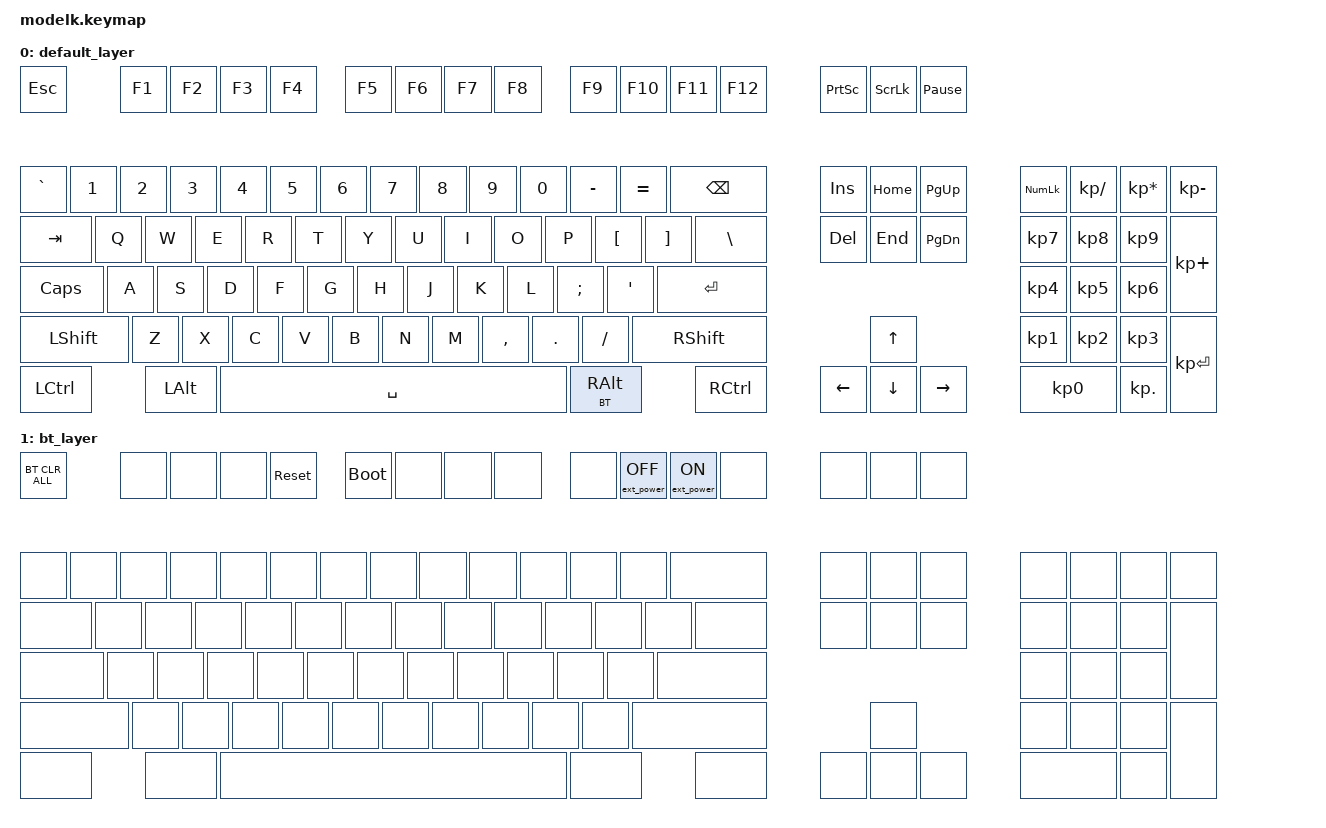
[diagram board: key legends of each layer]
#include <behaviors.dtsi>
#include <dt-bindings/zmk/keys.h>
#include <dt-bindings/zmk/bt.h>
#include <dt-bindings/zmk/outputs.h>
#include <dt-bindings/zmk/ext_power.h>

#define DEFAULT 0
#define BT      1

/ {
    // Define a default keymap here.
    // See https://zmk.dev/docs/development/hardware-integration/new-shield#default-keymap.
    keymap {
        compatible = "zmk,keymap";

        default_layer {
            bindings = <
                //  -------------------------------------------------------------------------------------------------------------------------
                //  | ESC   |       | F1    | F2    | F3    | F4    |   | F5    | F6    | F7    | F8    |   | F9    | F10   | F11   | F12   |       |PRT SCR| SLCK  |PAU_BRK|
                    &kp ESC         &kp F1  &kp F2   &kp F3  &kp F4      &kp F5  &kp F6  &kp F7  &kp F8      &kp F9  &kp F10 &kp F11  &kp F12       &kp PSCRN &kp SLCK &kp PAUSE_BREAK
                //  |  `    |  1    |  2    |  3    |  4    |  5    |  6    |  7    |  8    |  9    |  0    |  -    |  =    |   BKSP        |       |INSERT | HOME  |PAGE_UP|       |BL_NUM | KP /  | KP *  | KP -  |
                    &kp GRAVE &kp N1  &kp N2  &kp N3  &kp N4  &kp N5  &kp N6  &kp N7  &kp N8  &kp N9  &kp N0 &kp MINUS  &kp EQUAL  &kp BSPC         &kp INS &kp HOME &kp PG_UP      &kp KP_NUM &kp KP_DIVIDE &kp KP_MULTIPLY &kp KP_MINUS
                //  |    TAB    |  Q    |  W    |  E    |  R    |  T    |  Y    |  U    |  I    |  O    |  P    |   [   |   ]   |   "|\"    |       |DELETE |  END  |PAGE_DW|       | KP_N7 | KP_N8 | KP_N9 | KP +  |
                    &kp TAB     &kp Q      &kp W  &kp E  &kp R   &kp T   &kp Y   &kp U   &kp I   &kp O   &kp P   &kp LBKT &kp RBKT &kp BSLH         &kp DEL   &kp END &kp PG_DN     &kp KP_N7 &kp KP_N8 &kp KP_N9 &kp KP_PLUS
                //  | CAPS        |   A   |   S   |   D   |   F   |   G   |   H   |   J   |   K   |   L   |   ;   |   '   |      ENTER      |                                       | KP_N4 | KP_N5 | KP_N6 |(KP +) |
                    &kp CAPS        &kp A  &kp S   &kp D   &kp F   &kp G   &kp H   &kp J   &kp K   &kp L   &kp SEMI &kp SQT   &kp ENTER                                             &kp KP_N4 &kp KP_N5 &kp KP_N6
                //  |   LSHIFT        |   Z   |   X   |   C   |   V   |   B   |   N   |   M   |   ,   |   .   |   /   |        RSHIFT       |               |  UP   |               | KP_N1 | KP_N2 | KP_N3 | KPENT |
                    &kp LSHIFT         &kp Z   &kp X   &kp C   &kp V   &kp B   &kp N   &kp M   &kp COMMA  &kp DOT  &kp FSLH   &kp RSHIFT                     &kp UP                 &kp KP_N1 &kp KP_N2 &kp KP_N3 &kp KP_ENTER
                //  |   CTRL    |       |    ALT    |                        SPACE                          |   ALTGR   |       |   CTRL    |       | LEFT  | DOWN  | RIGHT |       |     KP_N0     | KP .  |(KPENT)|
		        	&kp LCTRL              &kp LALT              &kp SPACE                                   &lt BT RALT         &kp RCTRL          &kp LEFT &kp DOWN &kp RIGHT      &kp KP_N0 &kp KP_DOT
                //  -------------------------------------------------------------------------------------------------------------------------
            >;
        };

        bt_layer {
            bindings = <
                //  -------------------------------------------------------------------------------------------------------------------------
                //  | ESC   |       | F1    | F2    | F3    | F4    |   | F5    | F6    | F7    | F8    |   | F9    | F10   | F11   | F12   |       |PRT SCR| SLCK  |PAU_BRK|
                    &bt BT_CLR_ALL   &none   &none  &none   &sys_reset  &bootloader &none &none &none         &none &ext_power EP_OFF &ext_power EP_ON  &none     &none &none &none
                //  |  `    |  1    |  2    |  3    |  4    |  5    |  6    |  7    |  8    |  9    |  0    |  -    |  =    |   BKSP        |       |INSERT | HOME  |PAGE_UP|       |BL_NUM | KP /  | KP *  | KP -  |
                    &none   &none   &none   &none   &none   &none   &none   &none   &none   &none   &none   &none   &none   &none                   &none   &none   &none           &none   &none   &none   &none
                //  |    TAB    |  Q    |  W    |  E    |  R    |  T    |  Y    |  U    |  I    |  O    |  P    |   [   |   ]   |   "|\"    |       |DELETE |  END  |PAGE_DW|       | KP_N7 | KP_N8 | KP_N9 | KP +  |
                    &none       &none   &none   &none   &none   &none   &none   &none   &none   &none   &none   &none   &none   &none               &none   &none   &none           &none   &none   &none   &none
                //  | CAPS        |   A   |   S   |   D   |   F   |   G   |   H   |   J   |   K   |   L   |   ;   |   '   |      ENTER      |                                       | KP_N4 | KP_N5 | KP_N6 |(KP +) |
                    &none         &none   &none   &none   &none   &none   &none   &none   &none   &none   &none   &none   &none                                                     &none   &none   &none
                //  |   LSHIFT        |   Z   |   X   |   C   |   V   |   B   |   N   |   M   |   ,   |   .   |   /   |        RSHIFT       |               |  UP   |               | KP_N1 | KP_N2 | KP_N3 | KPENT |
                    &none             &none   &none   &none   &none   &none   &none   &none   &none   &none   &none    &none                                &none                   &none   &none   &none   &none
                //  |   CTRL    |       |    ALT    |                        SPACE                          |   ALTGR   |       |   CTRL    |       | LEFT  | DOWN  | RIGHT |       |     KP_N0     | KP .  |(KPENT)|
		        	&none               &none              &none                                             &none               &none              &none   &none   &none           &none           &none
                //  -------------------------------------------------------------------------------------------------------------------------
            >;
        };
    };
};
